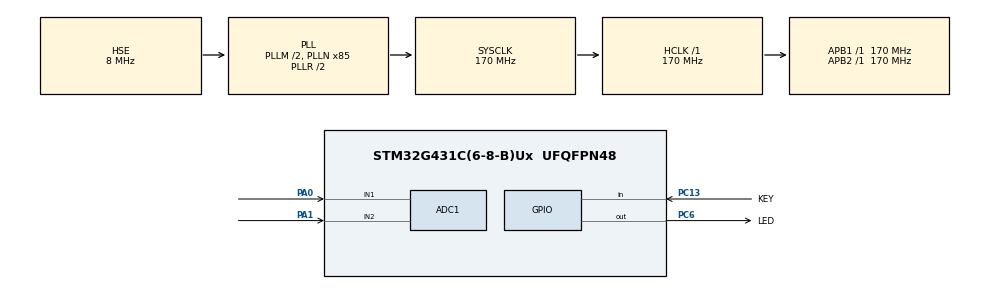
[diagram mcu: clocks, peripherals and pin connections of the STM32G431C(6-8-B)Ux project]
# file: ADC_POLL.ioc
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ADC1.Channel-0\#ChannelRegularConversion=ADC_CHANNEL_1
ADC1.Channel-1\#ChannelRegularConversion=ADC_CHANNEL_2
ADC1.ClockPrescaler=ADC_CLOCK_ASYNC_DIV64
ADC1.ContinuousConvMode=DISABLE
ADC1.DiscontinuousConvMode=ENABLE
ADC1.EOCSelection=ADC_EOC_SINGLE_CONV
ADC1.NbrOfConversion=2
ADC1.NbrOfConversionFlag=1
ADC1.NbrOfDiscConversion=2
ADC1.OffsetNumber-0\#ChannelRegularConversion=ADC_OFFSET_NONE
ADC1.OffsetNumber-1\#ChannelRegularConversion=ADC_OFFSET_NONE
ADC1.Rank-0\#ChannelRegularConversion=1
ADC1.Rank-1\#ChannelRegularConversion=2
ADC1.SamplingTime-0\#ChannelRegularConversion=ADC_SAMPLETIME_12CYCLES_5
ADC1.SamplingTime-1\#ChannelRegularConversion=ADC_SAMPLETIME_12CYCLES_5
ADC1.master=1
Mcu.Family=STM32G4
Mcu.Name=STM32G431C(6-8-B)Ux
Mcu.Package=UFQFPN48
NVIC.PriorityGroup=NVIC_PRIORITYGROUP_4
PA0.Mode=IN1-Single-Ended
PA0.Signal=ADC1_IN1
PA1.Mode=IN2-Single-Ended
PA1.Signal=ADC1_IN2
PA13.Mode=Serial_Wire
PA13.Signal=SYS_JTMS-SWDIO
PA14.Mode=Serial_Wire
PA14.Signal=SYS_JTCK-SWCLK
PC13.GPIO_Label=KEY
PC13.GPIO_PuPd=GPIO_PULLDOWN
PC13.Signal=GPIO_Input
PC6.GPIO_Label=LED
PC6.GPIO_ModeDefaultOutputPP=GPIO_MODE_OUTPUT_PP
PC6.GPIO_Speed=GPIO_SPEED_FREQ_LOW
PC6.PinState=GPIO_PIN_RESET
PC6.Signal=GPIO_Output
PF0-OSC_IN.Mode=HSE-External-Oscillator
PF0-OSC_IN.Signal=RCC_OSC_IN
PF1-OSC_OUT.Mode=HSE-External-Oscillator
PF1-OSC_OUT.Signal=RCC_OSC_OUT
ProjectManager.HeapSize=0x200
ProjectManager.StackSize=0x400
ProjectManager.TargetToolchain=STM32CubeIDE
RCC.ADC12Freq_Value=170000000
RCC.AHBFreq_Value=170000000
RCC.APB1Freq_Value=170000000
RCC.APB1TimFreq_Value=170000000
RCC.APB2Freq_Value=170000000
RCC.APB2TimFreq_Value=170000000
RCC.CortexFreq_Value=170000000
RCC.EXTERNAL_CLOCK_VALUE=12288000
RCC.HCLKFreq_Value=170000000
RCC.HSE_VALUE=8000000
RCC.HSI48_VALUE=48000000
RCC.HSI_VALUE=16000000
RCC.LSE_VALUE=32768
RCC.PLLM=RCC_PLLM_DIV2
RCC.PLLN=85
RCC.PLLSourceVirtual=RCC_PLLSOURCE_HSE
RCC.SYSCLKFreq_VALUE=170000000
RCC.SYSCLKSource=RCC_SYSCLKSOURCE_PLLCLK
RCC.USBFreq_Value=170000000
RCC.VCOOutputFreq_Value=340000000
VP_SYS_VS_DBSignals.Mode=DisableDeadBatterySignals
VP_SYS_V_VREFBUF.Mode=ExternalMode
board=custom

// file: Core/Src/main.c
/* USER CODE BEGIN Header */
/**
  ******************************************************************************
  * @file           : main.c
  * @brief          : Main program body
  ******************************************************************************
  * @attention
  *
  * Copyright (c) 2025 STMicroelectronics.
  * All rights reserved.
  *
  * This software is licensed under terms that can be found in the LICENSE file
  * in the root directory of this software component.
  * If no LICENSE file comes with this software, it is provided AS-IS.
  *
  ******************************************************************************
  */
/* USER CODE END Header */
#include "main.h"

ADC_HandleTypeDef hadc1;

/* USER CODE BEGIN PV */

uint32_t ADC_Value[2];
uint32_t my_counter;

/* USER CODE END PV */

void SystemClock_Config(void);
static void MX_GPIO_Init(void);
static void MX_ADC1_Init(void);

int main(void)
{

  /* USER CODE BEGIN 1 */

	my_counter = 0;

  /* USER CODE END 1 */

  /* MCU Configuration--------------------------------------------------------*/

  /* Reset of all peripherals, Initializes the Flash interface and the Systick. */
  HAL_Init();

  /* Configure the system clock */
  SystemClock_Config();

  /* Initialize all configured peripherals */
  MX_GPIO_Init();
  MX_ADC1_Init();
  /* USER CODE BEGIN 2 */

  // Enable ADC
  ADC_Enable(&hadc1);
  // ADC Calibration
  if (HAL_ADCEx_Calibration_Start(&hadc1, ADC_SINGLE_ENDED) != HAL_OK) {
	  Error_Handler();
  }

  HAL_ADC_Start(&hadc1);
  /* USER CODE END 2 */

  /* Infinite loop */
  /* USER CODE BEGIN WHILE */
  while (1)
  {
	  HAL_ADC_Start(&hadc1);

	  HAL_ADC_PollForConversion(&hadc1, 100);
	  ADC_Value[0] = HAL_ADC_GetValue(&hadc1);

	  HAL_ADC_PollForConversion(&hadc1, 100);
	  ADC_Value[1] = HAL_ADC_GetValue(&hadc1);

	  HAL_ADC_Stop(&hadc1);

	  my_counter++;

	  HAL_Delay(100);

    /* USER CODE END WHILE */

  }
}

void SystemClock_Config(void)
{
  RCC_OscInitTypeDef RCC_OscInitStruct = {0};
  RCC_ClkInitTypeDef RCC_ClkInitStruct = {0};

  /** Configure the main internal regulator output voltage
  */
  HAL_PWREx_ControlVoltageScaling(PWR_REGULATOR_VOLTAGE_SCALE1_BOOST);

  /** Initializes the RCC Oscillators according to the specified parameters
  * in the RCC_OscInitTypeDef structure.
  */
  RCC_OscInitStruct.OscillatorType = RCC_OSCILLATORTYPE_HSE;
  RCC_OscInitStruct.HSEState = RCC_HSE_ON;
  RCC_OscInitStruct.PLL.PLLState = RCC_PLL_ON;
  RCC_OscInitStruct.PLL.PLLSource = RCC_PLLSOURCE_HSE;
  RCC_OscInitStruct.PLL.PLLM = RCC_PLLM_DIV2;
  RCC_OscInitStruct.PLL.PLLN = 85;
  RCC_OscInitStruct.PLL.PLLP = RCC_PLLP_DIV2;
  RCC_OscInitStruct.PLL.PLLQ = RCC_PLLQ_DIV2;
  RCC_OscInitStruct.PLL.PLLR = RCC_PLLR_DIV2;
  if (HAL_RCC_OscConfig(&RCC_OscInitStruct) != HAL_OK)
  {
    Error_Handler();
  }

  /** Initializes the CPU, AHB and APB buses clocks
  */
  RCC_ClkInitStruct.ClockType = RCC_CLOCKTYPE_HCLK|RCC_CLOCKTYPE_SYSCLK
                              |RCC_CLOCKTYPE_PCLK1|RCC_CLOCKTYPE_PCLK2;
  RCC_ClkInitStruct.SYSCLKSource = RCC_SYSCLKSOURCE_PLLCLK;
  RCC_ClkInitStruct.AHBCLKDivider = RCC_SYSCLK_DIV1;
  RCC_ClkInitStruct.APB1CLKDivider = RCC_HCLK_DIV1;
  RCC_ClkInitStruct.APB2CLKDivider = RCC_HCLK_DIV1;

  if (HAL_RCC_ClockConfig(&RCC_ClkInitStruct, FLASH_LATENCY_4) != HAL_OK)
  {
    Error_Handler();
  }
}

static void MX_ADC1_Init(void)
{

  ADC_MultiModeTypeDef multimode = {0};
  ADC_ChannelConfTypeDef sConfig = {0};

  /** Common config
  */
  hadc1.Instance = ADC1;
  hadc1.Init.ClockPrescaler = ADC_CLOCK_ASYNC_DIV64;
  hadc1.Init.Resolution = ADC_RESOLUTION_12B;
  hadc1.Init.DataAlign = ADC_DATAALIGN_RIGHT;
  hadc1.Init.GainCompensation = 0;
  hadc1.Init.ScanConvMode = ADC_SCAN_ENABLE;
  hadc1.Init.EOCSelection = ADC_EOC_SINGLE_CONV;
  hadc1.Init.LowPowerAutoWait = DISABLE;
  hadc1.Init.ContinuousConvMode = DISABLE;
  hadc1.Init.NbrOfConversion = 2;
  hadc1.Init.DiscontinuousConvMode = ENABLE;
  hadc1.Init.NbrOfDiscConversion = 2;
  hadc1.Init.ExternalTrigConv = ADC_SOFTWARE_START;
  hadc1.Init.ExternalTrigConvEdge = ADC_EXTERNALTRIGCONVEDGE_NONE;
  hadc1.Init.DMAContinuousRequests = DISABLE;
  hadc1.Init.Overrun = ADC_OVR_DATA_PRESERVED;
  hadc1.Init.OversamplingMode = DISABLE;
  if (HAL_ADC_Init(&hadc1) != HAL_OK)
  {
    Error_Handler();
  }

  /** Configure the ADC multi-mode
  */
  multimode.Mode = ADC_MODE_INDEPENDENT;
  if (HAL_ADCEx_MultiModeConfigChannel(&hadc1, &multimode) != HAL_OK)
  {
    Error_Handler();
  }

  /** Configure Regular Channel
  */
  sConfig.Channel = ADC_CHANNEL_1;
  sConfig.Rank = ADC_REGULAR_RANK_1;
  sConfig.SamplingTime = ADC_SAMPLETIME_12CYCLES_5;
  sConfig.SingleDiff = ADC_SINGLE_ENDED;
  sConfig.OffsetNumber = ADC_OFFSET_NONE;
  sConfig.Offset = 0;
  if (HAL_ADC_ConfigChannel(&hadc1, &sConfig) != HAL_OK)
  {
    Error_Handler();
  }

  /** Configure Regular Channel
  */
  sConfig.Channel = ADC_CHANNEL_2;
  sConfig.Rank = ADC_REGULAR_RANK_2;
  if (HAL_ADC_ConfigChannel(&hadc1, &sConfig) != HAL_OK)
  {
    Error_Handler();
  }

}

static void MX_GPIO_Init(void)
{
  GPIO_InitTypeDef GPIO_InitStruct = {0};

  /* GPIO Ports Clock Enable */
  __HAL_RCC_GPIOC_CLK_ENABLE();
  __HAL_RCC_GPIOF_CLK_ENABLE();
  __HAL_RCC_GPIOA_CLK_ENABLE();

  /*Configure GPIO pin Output Level */
  HAL_GPIO_WritePin(LED_GPIO_Port, LED_Pin, GPIO_PIN_RESET);

  /*Configure GPIO pin : KEY_Pin */
  GPIO_InitStruct.Pin = KEY_Pin;
  GPIO_InitStruct.Mode = GPIO_MODE_INPUT;
  GPIO_InitStruct.Pull = GPIO_PULLDOWN;
  HAL_GPIO_Init(KEY_GPIO_Port, &GPIO_InitStruct);

  /*Configure GPIO pin : LED_Pin */
  GPIO_InitStruct.Pin = LED_Pin;
  GPIO_InitStruct.Mode = GPIO_MODE_OUTPUT_PP;
  GPIO_InitStruct.Pull = GPIO_NOPULL;
  GPIO_InitStruct.Speed = GPIO_SPEED_FREQ_LOW;
  HAL_GPIO_Init(LED_GPIO_Port, &GPIO_InitStruct);

}

void Error_Handler(void)
{
  __disable_irq();
  while (1)
  {
  }
}
